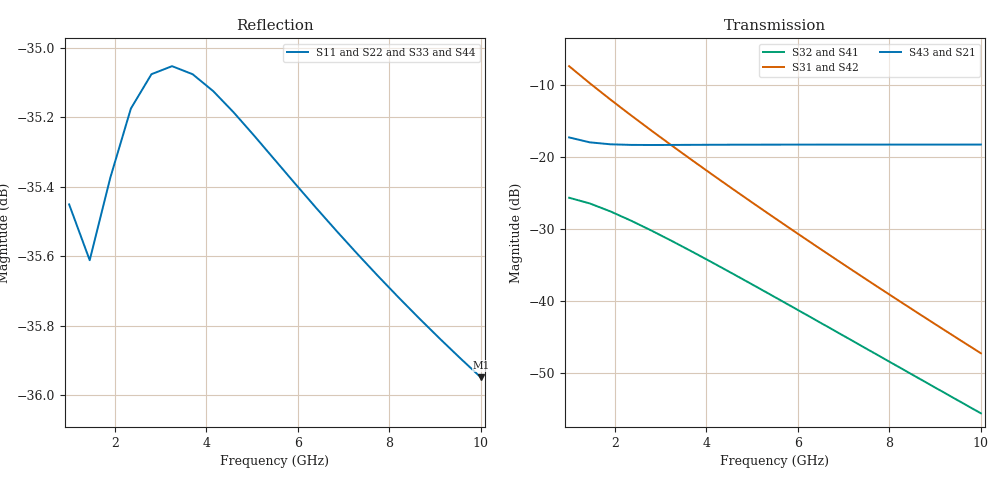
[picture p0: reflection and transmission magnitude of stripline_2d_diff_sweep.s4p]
! Touchstone file from project stripline_2d_diff
! Variables:
!  s = 100um
!  t = 35um
!  w = 0.15mm
!  x_sub = 3mm
!  z_sub = 200um
!  length = 1 m
# GHZ S MA R 50.000000
! Terminal data exported
! Port[1] = signal1_A
! Port[2] = signal2_A
! Port[3] = signal1_B
! Port[4] = signal2_B
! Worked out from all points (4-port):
!   21 points, 1 GHz to 10 GHz, reference 50 ohm
!   strongest paths, dB at 1 GHz, 3.25 GHz, 5.5 GHz, 7.75 GHz, 10 GHz:
!     S43: -17.3, -18.3, -18.3, -18.3, -18.3
!     S21: -17.3, -18.3, -18.3, -18.3, -18.3
!     S31: -7.3, -18.4, -28.5, -38.1, -47.3
!     S42: -7.3, -18.4, -28.5, -38.1, -47.3
!     S32: -25.6, -31.7, -39.5, -47.5, -55.6
!     S41: -25.6, -31.7, -39.5, -47.5, -55.6
!   lowest |S11| = -35.9 dB at 10 GHz (marker M1), VSWR 1.03, Z = 48.5 + j0.33 ohm
!   |S11| at or under -10 dB: start of sweep to end of sweep
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1  0.01688 170.8  0.1371 -6.6  0.4291 65.9  0.05221 109.0
   0.1371 -6.6  0.01688 170.8  0.05221 109.0  0.4291 65.9
   0.4291 65.9  0.05221 109.0  0.01688 170.8  0.1371 -6.6
   0.05221 109.0  0.4291 65.9  0.1371 -6.6  0.01688 170.8
1.45  0.01657 174.8  0.1268 -5.0  0.3268 55.5  0.04768 98.9
      0.1268 -5.0  0.01657 174.8  0.04768 98.9  0.3268 55.5
      0.3268 55.5  0.04768 98.9  0.01657 174.8  0.1268 -5.0
      0.04768 98.9  0.3268 55.5  0.1268 -5.0  0.01657 174.8
1.9  0.01703 176.1  0.1229 -3.2  0.2519 48.0  0.04198 91.5
     0.1229 -3.2  0.01703 176.1  0.04198 91.5  0.2518 48.0
     0.2519 48.0  0.04198 91.5  0.01703 176.1  0.1229 -3.2
     0.04198 91.5  0.2518 48.0  0.1229 -3.2  0.01703 176.1
2.35  0.01743 175.7  0.1217 -1.8  0.1956 42.7  0.03622 86.1
      0.1217 -1.8  0.01743 175.7  0.03622 86.1  0.1956 42.7
      0.1956 42.7  0.03622 86.1  0.01743 175.7  0.1217 -1.8
      0.03622 86.1  0.1956 42.7  0.1217 -1.8  0.01743 175.7
3.25  0.01768 173.7  0.1216 -0.5  0.12 36.8  0.02609 80.3
      0.1216 -0.5  0.01768 173.7  0.02609 80.3  0.12 36.8
      0.12 36.8  0.02609 80.3  0.01768 173.7  0.1216 -0.5
      0.02609 80.3  0.12 36.8  0.1216 -0.5  0.01768 173.7
5.95  0.017 169.9  0.1222 0.1  0.03006 44.4  0.008836 87.5
      0.1222 0.1  0.017 169.9  0.008836 87.5  0.03005 44.5
      0.03006 44.4  0.008836 87.5  0.017 169.9  0.1222 0.1
      0.008836 87.5  0.03005 44.5  0.1222 0.1  0.017 169.9
10  0.01594 167.7  0.1223 0.2  0.00433 97.5  0.001656 140.0
    0.1223 0.2  0.01595 167.7  0.001656 140.0  0.004331 97.8
    0.00433 97.5  0.001656 140.0  0.01594 167.7  0.1223 0.2
    0.001656 140.0  0.004331 97.8  0.1223 0.2  0.01595 167.7
